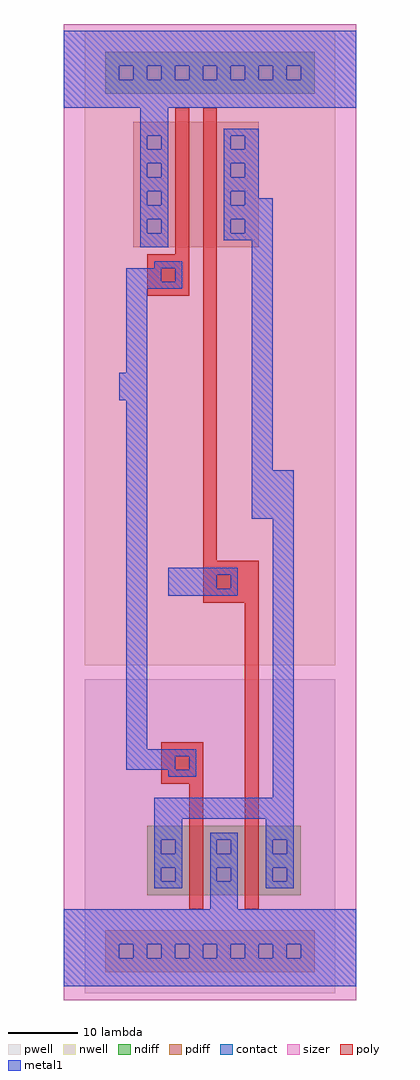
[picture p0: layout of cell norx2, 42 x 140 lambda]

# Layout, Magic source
magic
tech concept
<< sizer >>
rect 0 0 42 140
<< metal1 >>
rect 0 134 42 139
rect 0 132 8 134
rect 10 132 12 134
rect 14 132 16 134
rect 18 132 20 134
rect 22 132 24 134
rect 26 132 28 134
rect 30 132 32 134
rect 34 132 42 134
rect 0 128 42 132
rect 11 124 15 128
rect 23 124 28 125
rect 11 122 12 124
rect 14 122 15 124
rect 23 122 24 124
rect 26 122 28 124
rect 11 120 15 122
rect 23 120 28 122
rect 11 118 12 120
rect 14 118 15 120
rect 23 118 24 120
rect 26 118 28 120
rect 11 116 15 118
rect 23 116 28 118
rect 11 114 12 116
rect 14 114 15 116
rect 23 114 24 116
rect 26 115 28 116
rect 26 114 30 115
rect 11 112 15 114
rect 23 112 30 114
rect 11 110 12 112
rect 14 110 15 112
rect 23 110 24 112
rect 26 110 30 112
rect 11 108 15 110
rect 23 109 30 110
rect 27 76 30 109
rect 13 105 17 106
rect 9 103 14 105
rect 16 103 17 105
rect 9 102 17 103
rect 9 90 12 102
rect 8 86 12 90
rect 9 36 12 86
rect 27 69 33 76
rect 30 29 33 69
rect 15 61 25 62
rect 15 59 22 61
rect 24 59 25 61
rect 15 58 25 59
rect 9 35 19 36
rect 9 33 16 35
rect 18 33 19 35
rect 15 32 19 33
rect 13 26 33 29
rect 13 23 17 26
rect 29 23 33 26
rect 21 23 25 24
rect 13 21 14 23
rect 16 21 17 23
rect 21 21 22 23
rect 24 21 25 23
rect 29 21 30 23
rect 32 21 33 23
rect 13 19 17 21
rect 21 19 25 21
rect 29 19 33 21
rect 13 17 14 19
rect 16 17 17 19
rect 21 17 22 19
rect 24 17 25 19
rect 29 17 30 19
rect 32 17 33 19
rect 13 16 17 17
rect 21 13 25 17
rect 29 16 33 17
rect 0 8 42 13
rect 0 6 8 8
rect 10 6 12 8
rect 14 6 16 8
rect 18 6 20 8
rect 22 6 24 8
rect 26 6 28 8
rect 30 6 32 8
rect 34 6 42 8
rect 0 2 42 6
<< contact >>
rect 8 132 10 134
rect 12 132 14 134
rect 16 132 18 134
rect 20 132 22 134
rect 24 132 26 134
rect 28 132 30 134
rect 32 132 34 134
rect 12 122 14 124
rect 24 122 26 124
rect 12 118 14 120
rect 24 118 26 120
rect 12 114 14 116
rect 24 114 26 116
rect 12 110 14 112
rect 24 110 26 112
rect 14 103 16 105
rect 22 59 24 61
rect 16 33 18 35
rect 14 21 16 23
rect 22 21 24 23
rect 30 21 32 23
rect 14 17 16 19
rect 22 17 24 19
rect 30 17 32 19
rect 8 6 10 8
rect 12 6 14 8
rect 16 6 18 8
rect 20 6 22 8
rect 24 6 26 8
rect 28 6 30 8
rect 32 6 34 8
<< poly >>
rect 16 107 18 128
rect 20 63 22 128
rect 12 101 18 107
rect 20 57 28 63
rect 26 13 28 57
rect 14 31 20 37
rect 18 13 20 31
<< ndiff >>
rect 6 130 36 136
rect 12 15 34 25
<< pdiff >>
rect 10 108 28 126
rect 6 4 36 10
<< nwell >>
rect 3 48 39 139
<< pwell >>
rect 3 1 39 46
<< end >>
